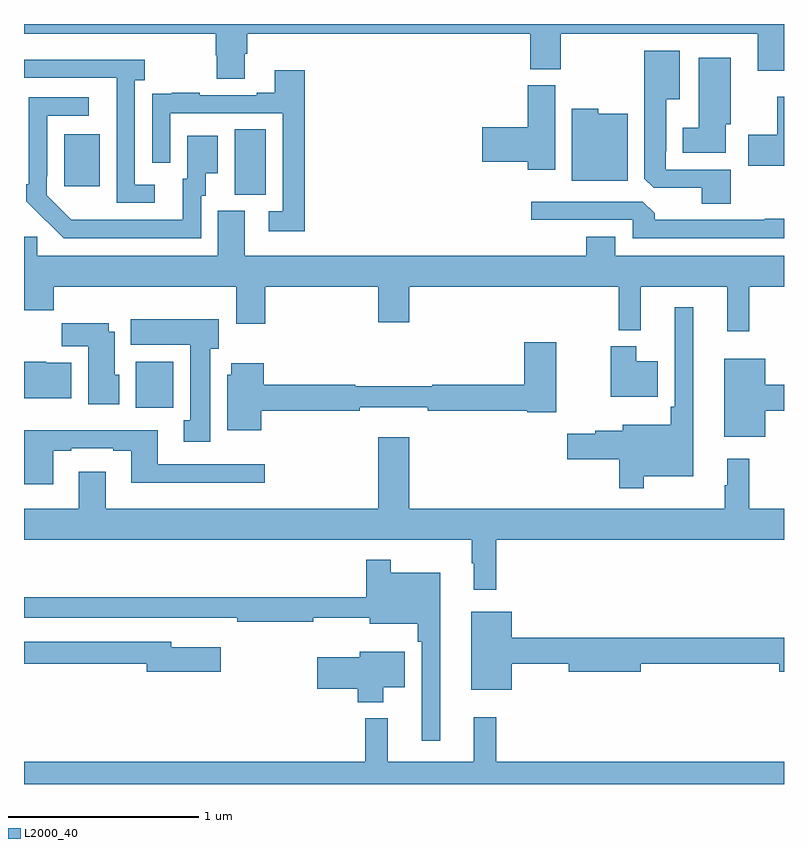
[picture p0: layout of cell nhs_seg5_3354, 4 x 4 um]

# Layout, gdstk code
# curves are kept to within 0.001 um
import gdstk
lib = gdstk.Library(unit=1e-6, precision=1e-09)
def R(c, l, rs):  # rectangles x0, y0, x1, y1
    for r in rs: c.add(gdstk.rectangle(r[:2], r[2:], *l))
def P(c, l, *ps):  # polygons
    for p in ps: c.add(gdstk.Polygon(p, *l))
L2000_40 = (2000, 40)

nhs_seg5_3354 = lib.new_cell('nhs_seg5_3354')
R(nhs_seg5_3354, L2000_40, [(307.589,866.78,307.786,867.022), (308.108,867.901,308.272,868.244), (307.211,867.945,307.399,868.219)])
P(nhs_seg5_3354, L2000_40, [(308.161,868.642),(308.174,868.642),(308.174,868.748),(309.665,868.748),(309.665,868.561),(309.825,868.561),(309.825,868.748),(310.862,868.748),(310.862,868.554),(311,868.554),(311,868.799),(307,868.799),(307,868.748),(308.009,868.748),(308.009,868.635),(308.014,868.635),(308.014,868.51),(308.161,868.51)],
  [(310.721,868.032),(310.377,868.032),(310.377,868.129),(310.381,868.129),(310.381,868.403),(310.45,868.403),(310.45,868.657),(310.265,868.657),(310.265,867.985),(310.314,867.936),(310.568,867.936),(310.568,867.853),(310.721,867.853)],
  [(310.693,868.272),(310.72,868.272),(310.72,868.621),(310.55,868.621),(310.55,868.252),(310.466,868.252),(310.466,868.121),(310.693,868.121)],
  [(307.687,867.954),(307.584,867.954),(307.584,868.502),(307.636,868.502),(307.636,868.612),(307,868.612),(307,868.515),(307.487,868.515),(307.487,868.315),(307.488,868.315),(307.488,867.858),(307.687,867.858)],
  [(308.477,868.555),(308.321,868.555),(308.321,868.438),(308.225,868.438),(308.225,868.425),(307.925,868.425),(307.925,868.438),(307.777,868.438),(307.777,868.431),(307.675,868.431),(307.675,868.322),(307.674,868.322),(307.674,868.068),(307.77,868.068),(307.77,868.329),(308.361,868.329),(308.361,867.813),(308.289,867.813),(308.289,867.708),(308.477,867.708)],
  [(309.796,868.476),(309.65,868.476),(309.65,868.256),(309.411,868.256),(309.411,868.073),(309.65,868.073),(309.65,868.032),(309.796,868.032)],
  [(311,868.417),(310.964,868.417),(310.964,868.215),(310.812,868.215),(310.812,868.052),(311,868.052)],
  [(307.932,867.894),(307.957,867.894),(307.957,868.013),(308.02,868.013),(308.02,868.21),(307.859,868.21),(307.859,867.984),(307.835,867.984),(307.835,867.768),(307.248,867.769),(307.119,867.897),(307.119,867.997),(307.122,867.997),(307.122,868.317),(307.342,868.317),(307.342,868.413),(307.026,868.413),(307.026,867.955),(307.011,867.955),(307.011,867.867),(307.208,867.672),(307.932,867.672)],
  [(310.177,868.327),(310.023,868.327),(310.023,868.354),(309.884,868.354),(309.884,867.974),(310.177,867.974)],
  [(311,867.773),(310.898,867.773),(310.898,867.768),(310.319,867.768),(310.319,867.802),(310.257,867.864),(309.669,867.864),(309.669,867.768),(310.203,867.768),(310.203,867.672),(311,867.672)],
  [(310.817,867.416),(311,867.416),(311,867.58),(310.111,867.58),(310.111,867.679),(309.959,867.679),(309.959,867.58),(308.161,867.58),(308.161,867.816),(308.021,867.816),(308.021,867.58),(307.071,867.58),(307.071,867.678),(307,867.678),(307,867.416),(307.001,867.416),(307.001,867.292),(307.157,867.292),(307.157,867.416),(308.117,867.416),(308.117,867.222),(308.27,867.222),(308.27,867.416),(308.864,867.416),(308.864,867.228),(309.028,867.228),(309.028,867.416),(310.129,867.416),(310.129,867.188),(310.247,867.188),(310.247,867.416),(310.7,867.416),(310.7,867.183),(310.817,867.183)],
  [(310.261,866.42),(310.522,866.42),(310.522,867.307),(310.425,867.307),(310.425,866.785),(310.405,866.785),(310.405,866.689),(310.151,866.689),(310.151,866.659),(310.007,866.659),(310.007,866.642),(309.858,866.642),(309.858,866.507),(310.132,866.507),(310.132,866.355),(310.261,866.355)],
  [(307.981,867.09),(308.026,867.09),(308.026,867.244),(307.562,867.244),(307.562,867.11),(307.874,867.11),(307.874,866.714),(307.841,866.714),(307.841,866.601),(307.981,866.601)],
  [(307.501,866.952),(307.477,866.952),(307.477,867.178),(307.447,867.178),(307.447,867.223),(307.198,867.223),(307.198,867.104),(307.337,867.104),(307.337,866.798),(307.501,866.798)],
  [(308.248,866.764),(308.768,866.764),(308.768,866.783),(309.124,866.783),(309.124,866.764),(309.648,866.764),(309.648,866.756),(309.802,866.756),(309.802,867.124),(309.632,867.124),(309.632,866.9),(309.148,866.9),(309.148,866.893),(308.744,866.893),(308.744,866.9),(308.261,866.9),(308.261,867.013),(308.09,867.013),(308.09,866.952),(308.069,866.952),(308.069,866.66),(308.248,866.66)],
  [(310.336,867.025),(310.222,867.025),(310.222,867.103),(310.088,867.103),(310.088,866.837),(310.336,866.837)],
  [(310.9,866.764),(311,866.764),(311,866.9),(310.9,866.9),(310.9,867.037),(310.685,867.037),(310.685,866.627),(310.9,866.627)],
  [(307.249,867.016),(307.116,867.016),(307.116,867.022),(307,867.022),(307,866.846),(307.002,866.846),(307.002,866.828),(307.249,866.828)],
  [(307.153,866.553),(307.249,866.553),(307.249,866.565),(307.469,866.565),(307.469,866.553),(307.565,866.553),(307.565,866.384),(308.266,866.384),(308.266,866.481),(307.705,866.481),(307.705,866.662),(307.001,866.662),(307.001,866.376),(307.153,866.376)],
  [(309.485,866.084),(311,866.084),(311,866.248),(310.817,866.248),(310.817,866.512),(310.7,866.512),(310.7,866.372),(310.689,866.372),(310.689,866.248),(309.028,866.248),(309.028,866.623),(308.864,866.623),(308.864,866.248),(307.429,866.248),(307.429,866.443),(307.289,866.443),(307.289,866.248),(307,866.248),(307,866.084),(309.357,866.084),(309.357,865.961),(309.368,865.961),(309.368,865.821),(309.485,865.821)],
  [(309.19,865.912),(308.929,865.912),(308.929,865.978),(308.8,865.978),(308.8,865.783),(307,865.783),(307,865.674),(307.87,865.674),(307.87,865.673),(308.122,865.673),(308.122,865.654),(308.523,865.654),(308.523,865.673),(308.819,865.673),(308.819,865.643),(309.073,865.643),(309.073,865.547),(309.093,865.547),(309.093,865.026),(309.19,865.026)],
  [(309.568,865.432),(309.866,865.432),(309.866,865.39),(310.246,865.39),(310.246,865.432),(310.976,865.432),(310.976,865.39),(311,865.39),(311,865.568),(309.568,865.568),(309.568,865.705),(309.353,865.705),(309.353,865.295),(309.568,865.295)],
  [(308.035,865.519),(307.774,865.519),(307.774,865.548),(307,865.548),(307,865.432),(307.646,865.432),(307.646,865.39),(308.035,865.39)],
  [(308.89,865.307),(309.004,865.307),(309.004,865.495),(308.768,865.495),(308.768,865.465),(308.544,865.465),(308.544,865.3),(308.756,865.3),(308.756,865.229),(308.89,865.229)],
  [(308.797,865.144),(308.797,864.916),(307,864.916),(307,864.799),(311,864.799),(311,864.916),(309.485,864.916),(309.485,865.15),(309.368,865.15),(309.368,864.916),(308.915,864.916),(308.915,865.144)])

lib.write_gds('nhs_seg5_3354.gds')
